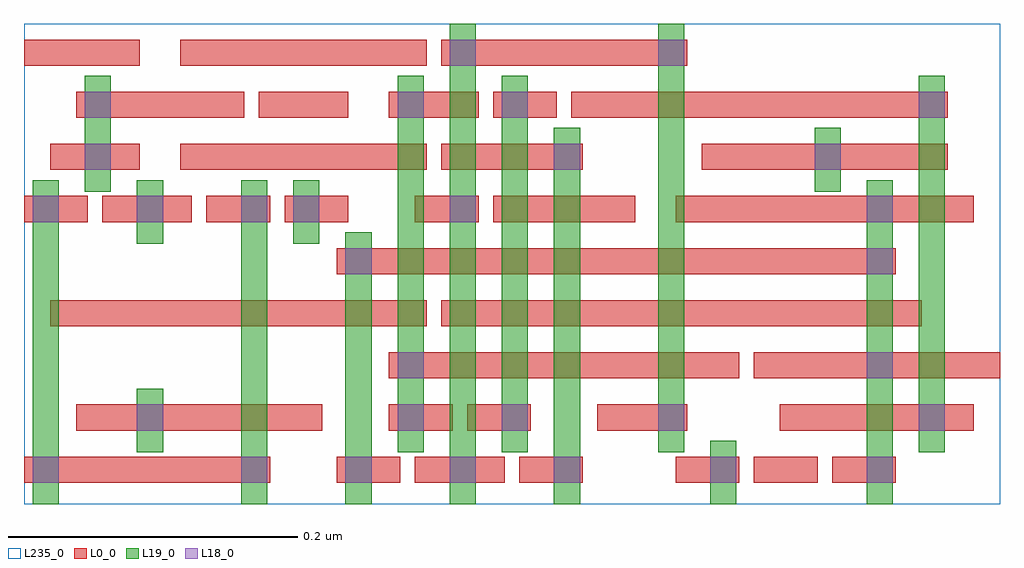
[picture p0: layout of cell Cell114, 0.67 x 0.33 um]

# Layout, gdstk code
import gdstk
lib = gdstk.Library(unit=1e-6, precision=2.5e-10)
def R(c, l, rs):  # rectangles x0, y0, x1, y1
    for r in rs: c.add(gdstk.rectangle(r[:2], r[2:], *l))
def A(c, l, x, y, w, h, nx, ny, dx, dy):  # array of equal rectangles
    R(c, l, [(x+i*dx, y+j*dy, x+i*dx+w, y+j*dy+h) for i in range(nx) for j in range(ny)])
L0_0 = (0, 0)
L18_0 = (18, 0)
L19_0 = (19, 0)
L235_0 = (235, 0)

cell114 = lib.new_cell('Cell114')
A(cell114, L0_0, 0.454, -0.001, 0.044, 0.018, 3, 1, 0.054, 0)
R(cell114, L0_0, [(0.004,-0.001,0.174,0.017), (0.22,-0.001,0.264,0.017), (0.274,-0.001,0.336,0.017), (0.346,-0.001,0.39,0.017), (0.04,0.035,0.21,0.053), (0.256,0.035,0.3,0.053), (0.31,0.035,0.354,0.053), (0.4,0.035,0.462,0.053), (0.526,0.035,0.66,0.053), (0.256,0.071,0.498,0.089), (0.508,0.071,0.678,0.089), (0.022,0.107,0.282,0.125), (0.292,0.107,0.624,0.125), (0.22,0.143,0.606,0.161), (0.004,0.179,0.048,0.197), (0.058,0.179,0.12,0.197), (0.13,0.179,0.174,0.197), (0.184,0.179,0.228,0.197), (0.274,0.179,0.318,0.197), (0.328,0.179,0.426,0.197), (0.454,0.179,0.66,0.197), (0.022,0.215,0.084,0.233), (0.112,0.215,0.282,0.233), (0.292,0.215,0.39,0.233), (0.472,0.215,0.642,0.233), (0.04,0.251,0.156,0.269), (0.166,0.251,0.228,0.269), (0.256,0.251,0.318,0.269), (0.328,0.251,0.372,0.269), (0.382,0.251,0.642,0.269), (0.004,0.287,0.084,0.305), (0.112,0.287,0.282,0.305), (0.292,0.287,0.462,0.305)])
A(cell114, L18_0, 0.154, -0.001, 0.018, 0.018, 4, 1, 0.072, 0)
A(cell114, L18_0, 0.586, -0.001, 0.018, 0.018, 1, 3, 0, 0.072)
A(cell114, L18_0, 0.01, 0.179, 0.018, 0.018, 3, 1, 0.072, 0)
R(cell114, L18_0, [(0.01,-0.001,0.028,0.017), (0.478,-0.001,0.496,0.017), (0.082,0.035,0.1,0.053), (0.262,0.035,0.28,0.053), (0.334,0.035,0.352,0.053), (0.442,0.035,0.46,0.053), (0.622,0.035,0.64,0.053), (0.262,0.071,0.28,0.089), (0.226,0.143,0.244,0.161), (0.19,0.179,0.208,0.197), (0.298,0.179,0.316,0.197), (0.586,0.179,0.604,0.197), (0.046,0.215,0.064,0.233), (0.37,0.215,0.388,0.233), (0.55,0.215,0.568,0.233), (0.046,0.251,0.064,0.269), (0.262,0.251,0.28,0.269), (0.334,0.251,0.352,0.269), (0.622,0.251,0.64,0.269), (0.298,0.287,0.316,0.305), (0.442,0.287,0.46,0.305)])
R(cell114, L19_0, [(0.01,-0.016,0.028,0.208), (0.154,-0.016,0.172,0.208), (0.226,-0.016,0.244,0.172), (0.298,-0.016,0.316,0.316), (0.37,-0.016,0.388,0.244), (0.478,-0.016,0.496,0.028), (0.586,-0.016,0.604,0.208), (0.082,0.02,0.1,0.064), (0.262,0.02,0.28,0.28), (0.334,0.02,0.352,0.28), (0.442,0.02,0.46,0.316), (0.622,0.02,0.64,0.28), (0.082,0.164,0.1,0.208), (0.19,0.164,0.208,0.208), (0.046,0.2,0.064,0.28), (0.55,0.2,0.568,0.244)])
R(cell114, L235_0, [(0.004,-0.016,0.678,0.316)])

lib.write_gds('Cell114.gds')
